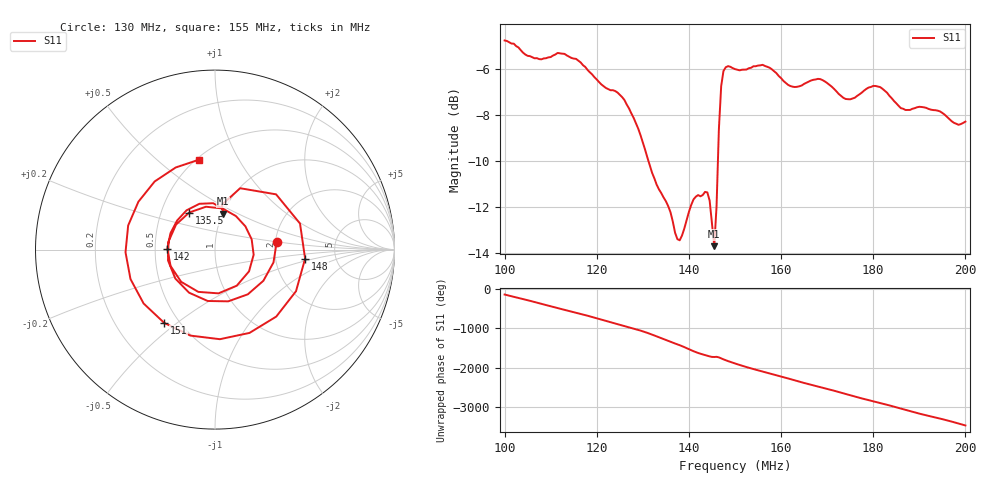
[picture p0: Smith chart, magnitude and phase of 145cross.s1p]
#  HZ  S  RI  R  50.00
! Rohde & Schwarz ZVA40 2Ports - Version 3.12 - 1145.1110k40 SN: 100360
! Date: 2019-07-29 16:37:11
! Measurement: S11
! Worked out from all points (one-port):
!   201 points, 100 MHz to 200 MHz, reference 50 ohm
!   lowest |S11| = -13.7 dB at 145.5 MHz (marker M1), VSWR 1.52, Z = 50.4 + j21.1 ohm
!   |S11| at or under -10 dB: 131.2 MHz to 146.3 MHz (15.11 MHz wide, 10.9 % of centre)
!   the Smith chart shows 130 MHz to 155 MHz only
!   S11 on the Smith chart (normalised r, x): 130 MHz: 2.04, +0.19; 135.5 MHz: 0.69, +0.31; 142 MHz: 0.58, +0.01; 148 MHz: 2.98, -0.40; 151 MHz: 0.42, -0.45; 155 MHz: 0.52, +0.70
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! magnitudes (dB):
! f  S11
! 100 MHz  -4.8
! 106.5 MHz  -5.6
! 112.5 MHz  -5.4
! 125 MHz  -7.1
! 130 MHz  -9.2
! 133 MHz  -11.1
! 135.5 MHz  -12.0
! 137.5 MHz  -13.4
! 138.5 MHz  -13.3
! 140.5 MHz  -11.9
! 142 MHz  -11.5
! 144 MHz  -11.4
! 144.5 MHz  -11.7
! 145.5 MHz  -13.7
! 146 MHz  -12.0
! 146.5 MHz  -8.6
! 147 MHz  -6.8
! 148 MHz  -5.9
! 150 MHz  -6.0
! 151 MHz  -6.1
! 155 MHz  -5.9
! 162.5 MHz  -6.8
! 168.5 MHz  -6.5
! 175 MHz  -7.3
! 180.5 MHz  -6.8
! 187.5 MHz  -7.8
! 191 MHz  -7.7
! 200 MHz  -8.3
